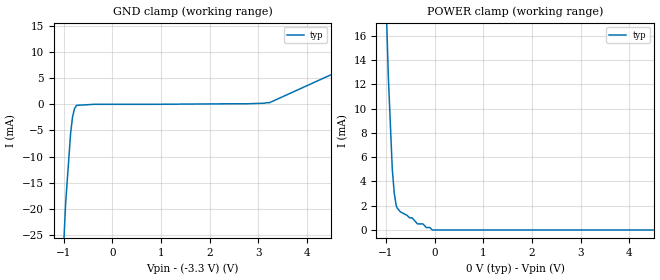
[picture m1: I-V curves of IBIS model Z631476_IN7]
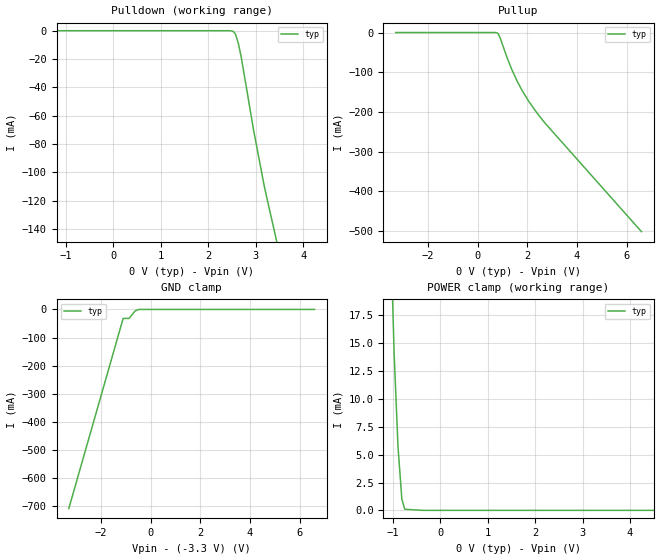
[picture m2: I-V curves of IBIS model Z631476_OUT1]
| YOU ARE ONLY AUTHORIZED TO USE THIS SOFTWARE
| ACCORDING TO LICENSOR'S LICENSE RESTRICTIONS.
[IBIS Ver] 3.1
[File Name] mc10ep89d_-33.ibs
[File Rev] 2.0
[Source] Measured and created by ICX Technology
[Date] Wednesday 11/22/00 2:13:51 PM
[Copyright]
| (C) COPYRIGHT 1993-2000
| MENTOR GRAPHICS CORPORATION
| ICX STANDARD LIBRARY, ICX PROJECT MODELING,
| ICX CUSTOM MODELING, ICX VENDOR MODEL
| ALL RIGHTS RESERVED.
| THE FOLLOWING ARE TRADEMARKS OR SERVICE MARKS OF
| MENTOR GRAPHICS CORPORATION:ICX (R), ICX STANDARD
| LIBRARY(R), ICX PROJECT MODELING(R), ICX CUSTOM
| MODELING(R), qualityIBIS(TM), MODELVIEWER(TM),
| AND MODELEDITOR(TM)
| ALL COPIES OF SOFTWARE, INCLUDING BUT NOT LIMITED TO
| ANY MODIFICATIONS, ENHANCEMENTS OR DERIVATIVE WORKS,
| MUST CONTAIN ALL MENTOR GRAPHICS CORPORATION'S
| NOTICES AND LEGENDS, INCLUDING THOSE EMBEDDED IN
| SOFTWARE AND THOSE AFFIXED TO SOFTWARE MEDIUM
| AND CONTAINER, AS RECEIVED FROM MENTOR GRAPHICS
| CORPORATION.
|  ZAP Model Builder 2.8
[Component] MC10EP89D_-33
[Manufacturer] OnSemiconductor
[Package]
| variable   typ   min   max
R_pkg  .152ohms NA NA
L_pkg  2.714nH NA NA
C_pkg  .364pF NA NA
[Pin] signal_name  model_name  R_pin  L_pin C_pin
1 Q0 Z631476_OUT1 .154 2.924n .374p
2 _Q0 Z631476_OUT1 .15 2.504n .354p
3 Q1 Z631476_OUT1 .15 2.504n .354p
4 _Q1 Z631476_OUT1 .154 2.924n .374p
5 VEE POWER .154 2.924n .374p
6 _D Z631476_IN7 .15 2.504n .354p
7 D Z631476_IN7 .15 2.504n .354p
8 VCC POWER .154 2.924n .374p
[Diff Pin] inv_pin vdiff tdelay_typ tdelay_min tdelay_max
1 2 NA .005ns NA .02ns
3 4 NA .005ns NA .02ns
7 6 800mv NA NA NA
| Models and submodels in the file (2): Z631476_IN7 (Input_ECL), Z631476_OUT1 (Output_ECL)
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| (C) COPYRIGHT 1993-2000
| MENTOR GRAPHICS CORPORATION
| ICX STANDARD LIBRARY, ICX PROJECT MODELING,
| ICX CUSTOM MODELING, ICX VENDOR MODEL
| ALL RIGHTS RESERVED.
| THE FOLLOWING ARE TRADEMARKS OR SERVICE MARKS OF
| MENTOR GRAPHICS CORPORATION:ICX (R), ICX STANDARD
| LIBRARY(R), ICX PROJECT MODELING(R), ICX CUSTOM
| MODELING(R), qualityIBIS(TM), MODELVIEWER(TM),
| AND MODELEDITOR(TM)
| ALL COPIES OF SOFTWARE, INCLUDING BUT NOT LIMITED TO
| ANY MODIFICATIONS, ENHANCEMENTS OR DERIVATIVE WORKS,
| MUST CONTAIN ALL MENTOR GRAPHICS CORPORATION'S
| NOTICES AND LEGENDS, INCLUDING THOSE EMBEDDED IN
| SOFTWARE AND THOSE AFFIXED TO SOFTWARE MEDIUM
| AND CONTAINER, AS RECEIVED FROM MENTOR GRAPHICS
| CORPORATION.
| Model Application Version 1.89 2/18/99.
[Model] Z631476_IN7
Model_type Input_ECL
Vinl = -1.480V
Vinh = -1.130V
C_comp 3.000pF NA NA
| variable typ   min   max
[Voltage Range] -3.300V NA NA
[GND Clamp Reference] -3.300V NA NA
[POWER Clamp Reference] 0.000V NA NA
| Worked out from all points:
|   GND clamp passes 1 mA (typ) near -0.78 V on its own axis
|   POWER clamp passes 1 mA (typ) near -0.47 V on its own axis
[GND Clamp]
-3.3V     -574.5mA   NA         NA
-1.078V   -42.7mA    NA         NA
-957mV    -18.9mA    NA         NA
-855mV    -5.5mA     NA         NA
-815mV    -2.4mA     NA         NA
-774mV    -800uA     NA         NA
-733mV    -200uA     NA         NA
-366.5mV  0A         NA         NA
2.763V    100uA      NA         NA
3.229V    300uA      NA         NA
6.6V      14.54mA    NA         NA
[POWER Clamp]
-3.3V     405.7mA    NA         NA
-1.054V   26.1mA     NA         NA
-953mV    12.6mA     NA         NA
-872mV    5mA        NA         NA
-831mV    3mA        NA         NA
-791mV    2mA        NA         NA
-709mV    1.5mA      NA         NA
-466mV    1mA        NA         NA
-354.5mV  500uA      NA         NA
-243mV    500uA      NA         NA
-50.5mV   0A         NA         NA
6.6V      0A         NA         NA
| (C) COPYRIGHT 1993-2000
| MENTOR GRAPHICS CORPORATION
| ICX STANDARD LIBRARY, ICX PROJECT MODELING,
| ICX CUSTOM MODELING, ICX VENDOR MODEL
| ALL RIGHTS RESERVED.
| THE FOLLOWING ARE TRADEMARKS OR SERVICE MARKS OF
| MENTOR GRAPHICS CORPORATION:ICX (R), ICX STANDARD
| LIBRARY(R), ICX PROJECT MODELING(R), ICX CUSTOM
| MODELING(R), qualityIBIS(TM), MODELVIEWER(TM),
| AND MODELEDITOR(TM)
| ALL COPIES OF SOFTWARE, INCLUDING BUT NOT LIMITED TO
| ANY MODIFICATIONS, ENHANCEMENTS OR DERIVATIVE WORKS,
| MUST CONTAIN ALL MENTOR GRAPHICS CORPORATION'S
| NOTICES AND LEGENDS, INCLUDING THOSE EMBEDDED IN
| SOFTWARE AND THOSE AFFIXED TO SOFTWARE MEDIUM
| AND CONTAINER, AS RECEIVED FROM MENTOR GRAPHICS
| CORPORATION.
| Model Application Version 1.89 2/18/99.
[Model] Z631476_OUT1
Model_type Output_ECL
Vref=-3.000V
Rref=50.00ohms
Cref=0.000F
Vmeas=-1.810V
C_comp 8.000pF NA NA
| variable typ   min   max
[Voltage Range] -3.300V NA NA
[POWER Clamp Reference] 0.000V NA NA
[Pullup Reference] 0.000V NA NA
[Pulldown Reference] 0.000V NA NA
[GND Clamp Reference] -3.300V NA NA
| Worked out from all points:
|   GND clamp passes 1 mA (typ) near -0.50 V on its own axis
|   POWER clamp passes 1 mA (typ) near -0.81 V on its own axis
[GND Clamp]
-3.3V     -708.2mA   NA         NA
-1.111V   -32.07mA   NA         NA
-871.4mV  -32.07mA   NA         NA
-632mV    -5.524mA   NA         NA
-474mV    0A         NA         NA
6.6V      0A         NA         NA
[Pulldown]
-3.3V     0A         NA         NA
2.452V    0A         NA         NA
2.493V    -200uA     NA         NA
2.533V    -700uA     NA         NA
2.574V    -2.5mA     NA         NA
2.635V    -9.1mA     NA         NA
2.696V    -19mA      NA         NA
2.959V    -71mA      NA         NA
3.182V    -110.2mA   NA         NA
6.6V      -618.7mA   NA         NA
[Pullup]
-3.3V     0A         NA         NA
791mV     -1.1mA     NA         NA
831mV     -3.5mA     NA         NA
912mV     -14.1mA    NA         NA
1.176V    -61.4mA    NA         NA
1.378V    -93.3mA    NA         NA
1.601V    -123.5mA   NA         NA
1.784V    -145mA     NA         NA
2.047V    -172mA     NA         NA
2.392V    -202.6mA   NA         NA
2.696V    -226.7mA   NA         NA
6.6V      -501.4mA   NA         NA
[POWER Clamp]
-3.3V     354.2mA    NA         NA
-973mV    14mA       NA         NA
-892mV    5.7mA      NA         NA
-811mV    1mA        NA         NA
-750mV    100uA      NA         NA
-375mV    0A         NA         NA
6.6V      0A         NA         NA
[Ramp]
| variable typ min max
dV/dt_r 629.7m/123.2p NA NA
dV/dt_f 629.7m/116.8p NA NA
R_load = 50.00Ohms
